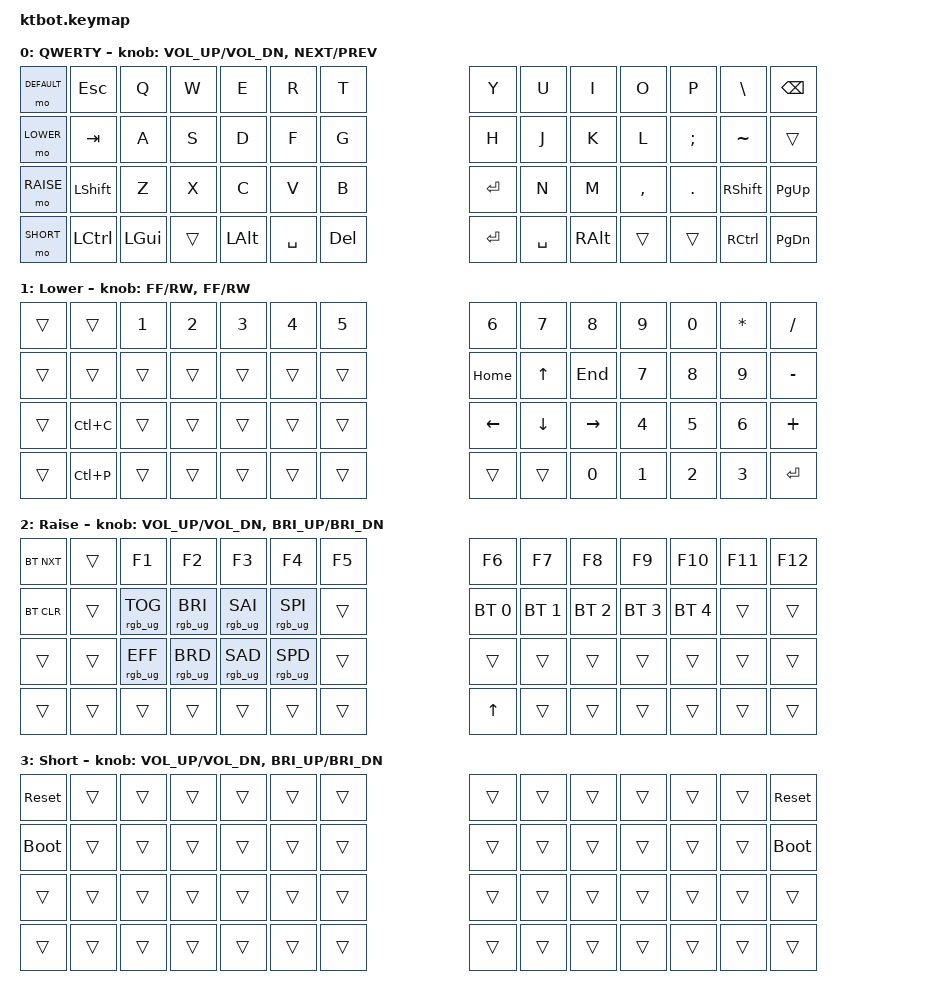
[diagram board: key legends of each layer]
/*
 * Copyright (c) 2023 The ZMK Contributors
 * SPDX-License-Identifier: MIT
 */

#include <behaviors.dtsi>
#include <dt-bindings/zmk/outputs.h>
#include <dt-bindings/zmk/keys.h>
#include <dt-bindings/zmk/bt.h>
#include <dt-bindings/zmk/rgb.h>
#include <dt-bindings/led/led.h>

// Short versions
#define RGBON   &rgb_ug RGB_ON
#define RGBOFF  &rgb_ug RGB_OFF
#define RGBTOG  &rgb_ug RGB_TOG
#define RGBHUI  &rgb_ug RGB_HUI
#define RGBHUD  &rgb_ug RGB_HUD
#define RGBSAI  &rgb_ug RGB_SAI
#define RGBSAD  &rgb_ug RGB_SAD
#define RGBBRI  &rgb_ug RGB_BRI
#define RGBBRD  &rgb_ug RGB_BRD
#define RGBEFF  &rgb_ug RGB_EFF

#define DEFAULT 0
#define LOWER   1
#define RAISE   2
#define SHORT   3

/*
 * Assign the cs-gpios pin to 4.
 * Uncomment these next few lines if implementing nice!view Displays
 */

nice_view_spi: &spi0 {
cs-gpios = <&pro_micro 4 GPIO_ACTIVE_HIGH>;

}; 

//////////////////////////////////////// Pin para RGB ws2812 ////////////////////////////////////////////////

//////////////////////////////////////////////////


/ {

    keymap {
        compatible = "zmk,keymap";

        default_layer {
            label = " QWERTY";
            bindings = <
&mo DEFAULT &kp ESC    &kp Q      &kp W      &kp E      &kp R      &kp T                           &kp Y       &kp U       &kp I      &kp O      &kp P      &kp BSLH    &kp BSPC
&mo LOWER   &kp TAB    &kp A      &kp S      &kp D      &kp F      &kp G                           &kp H       &kp J       &kp K      &kp L      &kp SEMI   &kp TILDE   &trans
&mo RAISE   &kp LSHFT  &kp Z      &kp X      &kp C      &kp V      &kp B                           &kp ENTER   &kp N       &kp M      &kp COMMA  &kp DOT    &kp RSHFT   &kp PG_UP
&mo SHORT   &kp LCTRL  &kp LGUI   &trans     &kp LALT   &kp SPACE  &kp DEL                         &kp ENTER   &kp SPACE   &kp RALT   &trans     &trans     &kp RCTRL   &kp PG_DN
                                                                     
                                                                                   
            >;

            sensor-bindings = <&inc_dec_kp C_VOL_UP C_VOL_DN &inc_dec_kp C_NEXT C_PREV>;
        };

        lower_layer {
            label = " Lower";
            bindings = <

&trans  &trans     &kp N1     &kp N2     &kp N3     &kp N4       &kp N5                     &kp N6     &kp N7     &kp N8     &kp N9     &kp N0     &kp ASTERISK   &kp SLASH
&trans  &trans     &trans     &trans     &trans     &trans       &trans                     &kp HOME   &kp UP     &kp END    &kp N7     &kp N8     &kp N9         &kp MINUS
&trans  &kp LC(C)  &trans     &trans     &trans     &trans       &trans                     &kp LEFT   &kp DOWN   &kp RIGHT  &kp N4     &kp N5     &kp N6         &kp PLUS
&trans  &kp LC(P)  &trans     &trans     &trans     &trans       &trans                     &trans     &trans     &kp N0     &kp N1     &kp N2     &kp N3         &kp ENTER 
                     

        
            >;
            
            sensor-bindings = <&inc_dec_kp C_FF C_RW &inc_dec_kp C_FF C_RW>;
        };

        raise_layer {
            label = " Raise";
            bindings = <

&bt BT_NXT  &trans      &kp F1          &kp F2           &kp F3          &kp F4          &kp F5           &kp F6        &kp F7        &kp F8        &kp F9        &kp F10       &kp F11       &kp F12
&bt BT_CLR  &trans      &rgb_ug RGB_TOG &rgb_ug RGB_BRI  &rgb_ug RGB_SAI &rgb_ug RGB_SPI &trans           &bt BT_SEL 0  &bt BT_SEL 1  &bt BT_SEL 2  &bt BT_SEL 3  &bt BT_SEL 4  &trans        &trans 
&trans      &trans      &rgb_ug RGB_EFF &rgb_ug RGB_BRD  &rgb_ug RGB_SAD &rgb_ug RGB_SPD &trans           &trans        &trans        &trans        &trans        &trans        &trans        &trans
&trans      &trans      &trans          &trans           &trans          &trans          &trans           &kp UP        &trans        &trans        &trans        &trans        &trans        &trans
                                       
   
            >;

            sensor-bindings = <&inc_dec_kp C_VOL_UP C_VOL_DN &inc_dec_kp C_BRI_UP C_BRI_DN>;
        };

        short_layer {
            label = " Short";
            bindings = <

&sys_reset   &trans    &trans      &trans      &trans     &trans      &trans           &trans    &trans    &trans      &trans      &trans     &trans      &sys_reset
&bootloader  &trans    &trans      &trans      &trans     &trans      &trans           &trans    &trans    &trans      &trans      &trans     &trans      &bootloader 
&trans       &trans    &trans      &trans      &trans     &trans      &trans           &trans    &trans    &trans      &trans      &trans     &trans      &trans
&trans       &trans    &trans      &trans      &trans     &trans      &trans           &trans    &trans    &trans      &trans      &trans     &trans      &trans
                                       
   
            >;

            sensor-bindings = <&inc_dec_kp C_VOL_UP C_VOL_DN &inc_dec_kp C_BRI_UP C_BRI_DN>;
        };

    };
};
